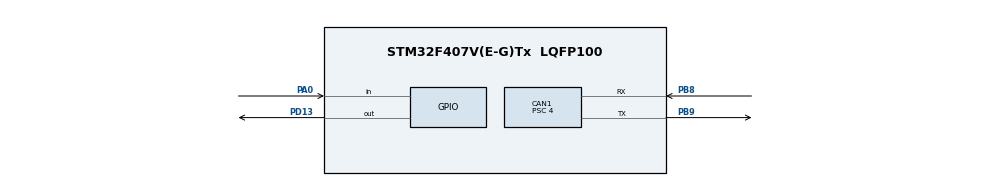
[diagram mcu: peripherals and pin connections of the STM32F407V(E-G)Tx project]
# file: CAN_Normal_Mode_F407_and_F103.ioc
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CAN1.BS1=CAN_BS1_12TQ
CAN1.BS2=CAN_BS2_3TQ
CAN1.CalculateBaudRate=562500
CAN1.CalculateTimeBit=1777
CAN1.CalculateTimeQuantum=111.11111111111111
CAN1.Mode=CAN_MODE_NORMAL
CAN1.Prescaler=4
Mcu.Family=STM32F4
Mcu.Name=STM32F407V(E-G)Tx
Mcu.Package=LQFP100
NVIC.PriorityGroup=NVIC_PRIORITYGROUP_0
PA0-WKUP.Signal=GPIO_Input
PA13.Mode=Serial_Wire
PA13.Signal=SYS_JTMS-SWDIO
PA14.Mode=Serial_Wire
PA14.Signal=SYS_JTCK-SWCLK
PB8.Mode=CAN_Activate
PB8.Signal=CAN1_RX
PB9.Mode=CAN_Activate
PB9.Signal=CAN1_TX
PD13.Signal=GPIO_Output
PH0-OSC_IN.Mode=HSE-External-Oscillator
PH0-OSC_IN.Signal=RCC_OSC_IN
PH1-OSC_OUT.Mode=HSE-External-Oscillator
PH1-OSC_OUT.Signal=RCC_OSC_OUT
ProjectManager.HeapSize=0x200
ProjectManager.StackSize=0x400
ProjectManager.TargetToolchain=STM32CubeIDE
RCC.48MHZClocksFreq_Value=20571428.57142857
RCC.AHBFreq_Value=72000000
RCC.APB1CLKDivider=RCC_HCLK_DIV2
RCC.APB1Freq_Value=36000000
RCC.APB1TimFreq_Value=72000000
RCC.APB2CLKDivider=RCC_HCLK_DIV2
RCC.APB2Freq_Value=36000000
RCC.APB2TimFreq_Value=72000000
RCC.CortexFreq_Value=72000000
RCC.HCLKFreq_Value=72000000
RCC.HSE_VALUE=8000000
RCC.HSI_VALUE=16000000
RCC.LSE_VALUE=32768
RCC.PLLM=4
RCC.PLLN=72
RCC.PLLQ=7
RCC.PLLSourceVirtual=RCC_PLLSOURCE_HSE
RCC.SYSCLKFreq_VALUE=72000000
RCC.SYSCLKSource=RCC_SYSCLKSOURCE_PLLCLK
RCC.VCOOutputFreq_Value=144000000
board=STM32F407G-DISC1

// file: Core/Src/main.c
/* USER CODE BEGIN Header */
/**
 ******************************************************************************
 * @file           : main.c
 * @brief          : Main program body
 ******************************************************************************
 * @attention
 *
 * Copyright (c) 2024 STMicroelectronics.
 * All rights reserved.
 *
 * This software is licensed under terms that can be found in the LICENSE file
 * in the root directory of this software component.
 * If no LICENSE file comes with this software, it is provided AS-IS.
 *
 ******************************************************************************
 */
/* USER CODE END Header */
#include "main.h"

CAN_HandleTypeDef hcan1;

/* USER CODE BEGIN PV */
CAN_TxHeaderTypeDef txHeader;
uint8_t txData[1] = { 'V' };  // Data to send
uint32_t txMailbox;
uint8_t txData1[1] = { 'Y' };  // Data to send
CAN_RxHeaderTypeDef RxHeader;
uint8_t RxData[1];

/* USER CODE END PV */

void SystemClock_Config(void);
static void MX_GPIO_Init(void);
static void MX_CAN1_Init(void);

int main(void) {

	/* MCU Configuration--------------------------------------------------------*/

	/* Reset of all peripherals, Initializes the Flash interface and the Systick. */
	HAL_Init();

	/* Configure the system clock */
	SystemClock_Config();

	/* Initialize all configured peripherals */
	MX_GPIO_Init();
	MX_CAN1_Init();
	/* USER CODE BEGIN 2 */

	CAN_FilterTypeDef canFilterConfig;
	canFilterConfig.FilterBank = 0;
	canFilterConfig.FilterMode = CAN_FILTERMODE_IDMASK;
	canFilterConfig.FilterScale = CAN_FILTERSCALE_32BIT;
	canFilterConfig.FilterIdHigh = 0x0000;
	canFilterConfig.FilterIdLow = 0x0000;
	canFilterConfig.FilterMaskIdHigh = 0x0000;
	canFilterConfig.FilterMaskIdLow = 0x0000;
	canFilterConfig.FilterFIFOAssignment = CAN_RX_FIFO0;
	canFilterConfig.FilterActivation = ENABLE;
	canFilterConfig.SlaveStartFilterBank = 14;

	txHeader.DLC = 1;  // Data length code: 1 byte
	txHeader.IDE = CAN_ID_STD;  // Standard identifier
	txHeader.StdId = 0x123;  // Identifier
	txHeader.RTR = CAN_RTR_DATA;  // Data frame
	txHeader.ExtId = 0x01;   // Extended Identifier (not used in this case)

	if (HAL_CAN_ConfigFilter(&hcan1, &canFilterConfig) != HAL_OK) {
		// Filter configuration Error
		Error_Handler();
	}

	// Start CAN
	if (HAL_CAN_Start(&hcan1) != HAL_OK) {
		// Start Error
		Error_Handler();
	}

	// Activate the notification for message reception
	if (HAL_CAN_ActivateNotification(&hcan1, CAN_IT_RX_FIFO0_MSG_PENDING)
			!= HAL_OK) {
		// Notification Error
		Error_Handler();
	}

	/* USER CODE END 2 */

	/* Infinite loop */
	while (1) {

		/* USER CODE BEGIN 3 */

		if (HAL_GPIO_ReadPin(GPIOA, GPIO_PIN_0)) {
			if (HAL_CAN_GetTxMailboxesFreeLevel(&hcan1) > 0)
			{
				HAL_CAN_AddTxMessage(&hcan1, &txHeader, txData, &txMailbox);
				//HAL_GPIO_WritePin(GPIOD, GPIO_PIN_13, GPIO_PIN_SET); // Set PD13 to High

			}
		}
			else {
				if (HAL_CAN_GetTxMailboxesFreeLevel(&hcan1) > 0)
							{
								HAL_CAN_AddTxMessage(&hcan1, &txHeader, txData1, &txMailbox);
								//HAL_GPIO_WritePin(GPIOD, GPIO_PIN_13, GPIO_PIN_RESET); // Set PD13 to High

							}
			}

			//		if (HAL_CAN_GetTxMailboxesFreeLevel(&hcan1) > 0)
			//		{
			//			HAL_GPIO_WritePin(GPIOD, GPIO_PIN_13, 1);
			//		            if (HAL_CAN_AddTxMessage(&hcan1, &txHeader, txData, &txMailbox) != HAL_OK) {
			//		                Error_Handler();
			//		            }
			//
			//		        }
			// Check if a CAN message is received
			//		    if (HAL_CAN_GetRxFifoFillLevel(&hcan1, CAN_RX_FIFO0) > 0)
			//		    {
			//		      if (HAL_CAN_GetRxMessage(&hcan1, CAN_RX_FIFO0, &RxHeader, RxData) == HAL_OK)
			//		      {
			//		        // Process the received message (RxData)
			//		        // You can add your code here to handle the received data
			//		      }
			//		      else
			//		      {
			//		        // Reception Error
			//		        Error_Handler();
			//		      }
			//		    }

			// HAL_Delay(500);

		}
		/* USER CODE END 3 */
	}

	/**
	 * @brief System Clock Configuration
	 * @retval None
	 */
	void SystemClock_Config(void) {
		RCC_OscInitTypeDef RCC_OscInitStruct = { 0 };
		RCC_ClkInitTypeDef RCC_ClkInitStruct = { 0 };

		/** Configure the main internal regulator output voltage
		 */
		__HAL_RCC_PWR_CLK_ENABLE();
		__HAL_PWR_VOLTAGESCALING_CONFIG(PWR_REGULATOR_VOLTAGE_SCALE1);

		/** Initializes the RCC Oscillators according to the specified parameters
		 * in the RCC_OscInitTypeDef structure.
		 */
		RCC_OscInitStruct.OscillatorType = RCC_OSCILLATORTYPE_HSE;
		RCC_OscInitStruct.HSEState = RCC_HSE_ON;
		RCC_OscInitStruct.PLL.PLLState = RCC_PLL_ON;
		RCC_OscInitStruct.PLL.PLLSource = RCC_PLLSOURCE_HSE;
		RCC_OscInitStruct.PLL.PLLM = 4;
		RCC_OscInitStruct.PLL.PLLN = 72;
		RCC_OscInitStruct.PLL.PLLP = RCC_PLLP_DIV2;
		RCC_OscInitStruct.PLL.PLLQ = 7;
		if (HAL_RCC_OscConfig(&RCC_OscInitStruct) != HAL_OK) {
			Error_Handler();
		}

		/** Initializes the CPU, AHB and APB buses clocks
		 */
		RCC_ClkInitStruct.ClockType = RCC_CLOCKTYPE_HCLK | RCC_CLOCKTYPE_SYSCLK
				| RCC_CLOCKTYPE_PCLK1 | RCC_CLOCKTYPE_PCLK2;
		RCC_ClkInitStruct.SYSCLKSource = RCC_SYSCLKSOURCE_PLLCLK;
		RCC_ClkInitStruct.AHBCLKDivider = RCC_SYSCLK_DIV1;
		RCC_ClkInitStruct.APB1CLKDivider = RCC_HCLK_DIV2;
		RCC_ClkInitStruct.APB2CLKDivider = RCC_HCLK_DIV2;

		if (HAL_RCC_ClockConfig(&RCC_ClkInitStruct, FLASH_LATENCY_2)
				!= HAL_OK) {
			Error_Handler();
		}
	}

	/**
	 * @brief CAN1 Initialization Function
	 * @param None
	 * @retval None
	 */
	static void MX_CAN1_Init(void) {

		hcan1.Instance = CAN1;
		hcan1.Init.Prescaler = 4;
		hcan1.Init.Mode = CAN_MODE_NORMAL;
		hcan1.Init.SyncJumpWidth = CAN_SJW_1TQ;
		hcan1.Init.TimeSeg1 = CAN_BS1_12TQ;
		hcan1.Init.TimeSeg2 = CAN_BS2_3TQ;
		hcan1.Init.TimeTriggeredMode = DISABLE;
		hcan1.Init.AutoBusOff = DISABLE;
		hcan1.Init.AutoWakeUp = DISABLE;
		hcan1.Init.AutoRetransmission = DISABLE;
		hcan1.Init.ReceiveFifoLocked = DISABLE;
		hcan1.Init.TransmitFifoPriority = DISABLE;
		if (HAL_CAN_Init(&hcan1) != HAL_OK) {
			Error_Handler();
		}

	}

	/**
	 * @brief GPIO Initialization Function
	 * @param None
	 * @retval None
	 */
	static void MX_GPIO_Init(void) {
		GPIO_InitTypeDef GPIO_InitStruct = { 0 };

		/* GPIO Ports Clock Enable */
		__HAL_RCC_GPIOH_CLK_ENABLE();
		__HAL_RCC_GPIOA_CLK_ENABLE();
		__HAL_RCC_GPIOD_CLK_ENABLE();
		__HAL_RCC_GPIOB_CLK_ENABLE();

		/*Configure GPIO pin Output Level */
		HAL_GPIO_WritePin(GPIOD, GPIO_PIN_13, GPIO_PIN_RESET);

		/*Configure GPIO pin : PA0 */
		GPIO_InitStruct.Pin = GPIO_PIN_0;
		GPIO_InitStruct.Mode = GPIO_MODE_INPUT;
		GPIO_InitStruct.Pull = GPIO_NOPULL;
		HAL_GPIO_Init(GPIOA, &GPIO_InitStruct);

		/*Configure GPIO pin : PD13 */
		GPIO_InitStruct.Pin = GPIO_PIN_13;
		GPIO_InitStruct.Mode = GPIO_MODE_OUTPUT_PP;
		GPIO_InitStruct.Pull = GPIO_NOPULL;
		GPIO_InitStruct.Speed = GPIO_SPEED_FREQ_LOW;
		HAL_GPIO_Init(GPIOD, &GPIO_InitStruct);

	}

	/**
	 * @brief  This function is executed in case of error occurrence.
	 * @retval None
	 */
	void Error_Handler(void) {
		__disable_irq();
		while (1) {
		}
	}
